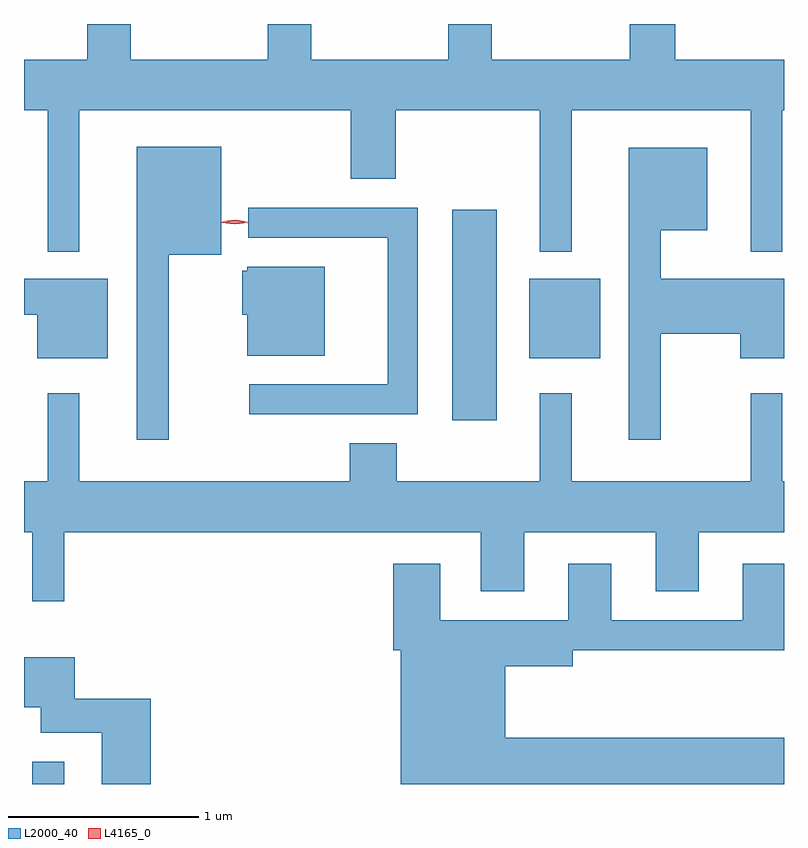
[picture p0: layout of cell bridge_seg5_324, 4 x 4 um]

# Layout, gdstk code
import gdstk
lib = gdstk.Library(unit=1e-6, precision=1e-09)
def R(c, l, rs):  # rectangles x0, y0, x1, y1
    for r in rs: c.add(gdstk.rectangle(r[:2], r[2:], *l))
def P(c, l, *ps):  # polygons
    for p in ps: c.add(gdstk.Polygon(p, *l))
L2000_40 = (2000, 40)
L4165_0 = (4165, 0)

bridge_seg5_324 = lib.new_cell('bridge_seg5_324')
R(bridge_seg5_324, L2000_40, [(748.071,1453.251,748.239,1453.368), (750.281,1455.166,750.514,1456.274), (750.686,1455.491,751.059,1455.909)])
P(bridge_seg5_324, L2000_40, [(748.319,1456.796),(749.746,1456.796),(749.746,1456.436),(749.984,1456.436),(749.984,1456.796),(750.741,1456.796),(750.741,1456.053),(750.909,1456.053),(750.909,1456.796),(751.851,1456.796),(751.851,1456.053),(752.019,1456.053),(752.019,1456.796),(752.027,1456.796),(752.027,1457.064),(751.454,1457.064),(751.454,1457.251),(751.216,1457.251),(751.216,1457.064),(750.489,1457.064),(750.489,1457.251),(750.261,1457.251),(750.261,1457.064),(749.539,1457.064),(749.539,1457.251),(749.311,1457.251),(749.311,1457.064),(748.589,1457.064),(748.589,1457.251),(748.361,1457.251),(748.361,1457.064),(748.027,1457.064),(748.027,1456.796),(748.151,1456.796),(748.151,1456.053),(748.319,1456.053)],
  [(748.789,1456.036),(749.064,1456.036),(749.064,1456.604),(748.621,1456.604),(748.621,1455.063),(748.789,1455.063)],
  [(751.379,1455.621),(751.796,1455.621),(751.796,1455.491),(752.027,1455.491),(752.027,1455.909),(751.379,1455.909),(751.379,1456.166),(751.624,1456.166),(751.624,1456.599),(751.211,1456.599),(751.211,1455.063),(751.379,1455.063)],
  [(750.099,1456.284),(749.208,1456.284),(749.208,1456.126),(749.941,1456.126),(749.941,1455.354),(749.213,1455.354),(749.213,1455.196),(750.099,1455.196)],
  [(749.609,1455.974),(749.201,1455.974),(749.201,1455.953),(749.176,1455.953),(749.176,1455.721),(749.201,1455.721),(749.201,1455.506),(749.609,1455.506)],
  [(748.469,1455.909),(748.027,1455.909),(748.027,1455.721),(748.096,1455.721),(748.096,1455.491),(748.469,1455.491)],
  [(748.239,1454.576),(750.431,1454.576),(750.431,1454.266),(750.659,1454.266),(750.659,1454.576),(751.351,1454.576),(751.351,1454.266),(751.579,1454.266),(751.579,1454.576),(752.027,1454.576),(752.027,1454.844),(752.019,1454.844),(752.019,1455.308),(751.851,1455.308),(751.851,1454.844),(750.909,1454.844),(750.909,1455.308),(750.741,1455.308),(750.741,1454.844),(749.989,1454.844),(749.989,1455.044),(749.741,1455.044),(749.741,1454.844),(748.319,1454.844),(748.319,1455.308),(748.151,1455.308),(748.151,1454.844),(748.027,1454.844),(748.027,1454.576),(748.071,1454.576),(748.071,1454.213),(748.239,1454.213)],
  [(752.027,1453.494),(750.559,1453.494),(750.559,1453.871),(750.914,1453.871),(750.914,1453.956),(752.027,1453.956),(752.027,1454.409),(751.811,1454.409),(751.811,1454.114),(751.119,1454.114),(751.119,1454.409),(750.891,1454.409),(750.891,1454.114),(750.219,1454.114),(750.219,1454.409),(749.971,1454.409),(749.971,1453.956),(750.011,1453.956),(750.011,1453.251),(752.027,1453.251)],
  [(748.694,1453.699),(748.294,1453.699),(748.294,1453.919),(748.027,1453.919),(748.027,1453.656),(748.116,1453.656),(748.116,1453.521),(748.436,1453.521),(748.436,1453.251),(748.694,1453.251)])
P(bridge_seg5_324, L4165_0, [(749.137,1456.196),(749.069,1456.206),(749.068,1456.207),(749.069,1456.207),(749.137,1456.216),(749.205,1456.206),(749.206,1456.205),(749.205,1456.205)],
  [(749.139,1456.202),(749.076,1456.214),(749.076,1456.214),(749.076,1456.214),(749.139,1456.222),(749.202,1456.211),(749.202,1456.21),(749.202,1456.21)])

lib.write_gds('bridge_seg5_324.gds')
